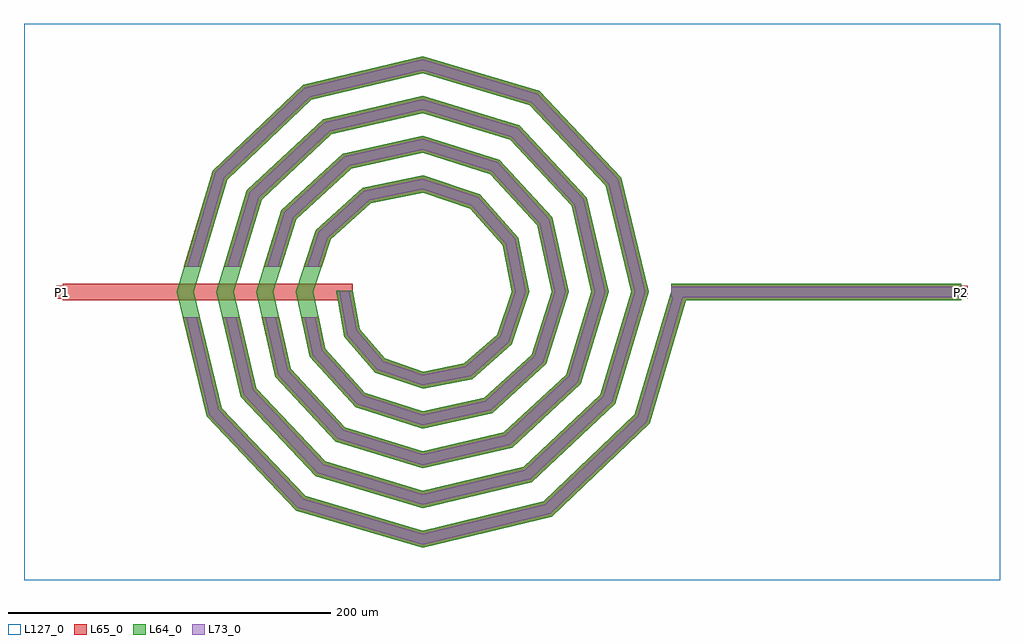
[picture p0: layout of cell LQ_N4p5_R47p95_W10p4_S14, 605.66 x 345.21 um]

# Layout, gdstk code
import gdstk
lib = gdstk.Library(unit=1e-6, precision=1e-09)
def R(c, l, rs):  # rectangles x0, y0, x1, y1
    for r in rs: c.add(gdstk.rectangle(r[:2], r[2:], *l))
def P(c, l, *ps):  # polygons
    for p in ps: c.add(gdstk.Polygon(p, *l))
L64_0 = (64, 0)
L65_0 = (65, 0)
L73_0 = (73, 0)
L127_0 = (127, 0)

lq_n4p5_r47p95_w10p4_s14 = lib.new_cell('LQ_N4p5_R47p95_W10p4_S14')
R(lq_n4p5_r47p95_w10p4_s14, L64_0, [(154.362,-5.2,334.362,5.2)])
P(lq_n4p5_r47p95_w10p4_s14, L64_0, [(-38.929,-22.947),(-23.282,-41.11),(0.377,-49.299),(25.992,-44.293),(46.43,-26.401),(55.467,0.339),(49.652,29.045),(29.514,51.756),(0.308,61.635),(-32.104,55.009),(-57.084,32.623),(-67.804,0.282),(-60.364,-35.168),(-35.727,-62.415),(0.26,-73.973),(38.234,-65.717),(67.748,-38.829),(80.142,0.241),(71.068,41.304),(41.928,73.082),(0.225,86.312),(-44.375,76.419),(-78.418,45.026),(-92.481,0.211),(-81.769,-47.448),(-48.122,-83.755),(0.199,-98.651),(50.522,-87.118),(89.092,-51.217),(104.821,0.187),(92.467,53.598),(54.311,94.43),(0.177,110.991),(-56.675,97.815),(-99.769,57.403),(-117.16,0.169),(-103.162,-59.752),(-60.496,-105.108),(0.16,-123.33),(62.83,-108.509),(110.447,-63.587),(129.5,0.153),(113.856,65.909),(66.678,115.787),(0.146,135.67),(-68.988,119.203),(-121.127,69.768),(-141.84,0.14),(-124.549,-72.068),(-72.858,-126.467),(0.135,-148.01),(75.148,-129.895),(131.808,-75.948),(154.573,1.467),(164.551,-1.467),(140.999,-81.557),(80.3,-139.35),(0.135,-158.774),(-78.477,-135.653),(-134.009,-77.21),(-152.604,0.14),(-130.306,75.397),(-74.12,128.668),(0.146,146.434),(72.317,124.96),(123.328,71.029),(140.263,0.153),(119.613,-69.238),(67.938,-117.988),(0.16,-134.093),(-66.159,-114.265),(-112.648,-64.846),(-127.923,0.169),(-108.917,63.081),(-61.754,107.309),(0.177,121.752),(60.004,103.569),(101.97,58.66),(115.582,0.187),(98.22,-56.928),(55.566,-96.632),(0.199,-109.412),(-53.853,-92.871),(-91.294,-52.47),(-103.241,0.211),(-87.52,50.779),(-49.373,85.957),(0.225,97.071),(47.706,82.169),(80.621,46.274),(90.9,0.241),(76.817,-44.636),(43.173,-75.286),(0.26,-84.729),(-41.567,-71.463),(-69.952,-40.07),(-78.558,0.282),(-66.107,38.502),(-36.963,64.62),(0.308,72.387),(35.44,60.748),(59.29,33.852),(66.215,0.339),(55.387,-32.383),(30.735,-53.962),(0.377,-60.043),(-29.332,-50.021),(-48.639,-27.611),(-53.613,0.954),(-43.389,0.954)])
R(lq_n4p5_r47p95_w10p4_s14, L65_0, [(-223.301,-5.2,-43.301,5.2), (154.362,-5.2,334.362,5.2), (-227.301,-4,-219.301,4), (330.362,-4,338.362,4)])
P(lq_n4p5_r47p95_w10p4_s14, L65_0, [(-124.549,-72.068),(-72.858,-126.468),(0.135,-148.01),(75.148,-129.895),(131.808,-75.948),(154.573,1.467),(164.551,-1.467),(140.999,-81.557),(80.3,-139.35),(0.135,-158.774),(-78.477,-135.653),(-134.009,-77.21),(-148.82,-15.6),(-138.124,-15.6)],
  [(-103.162,-59.752),(-60.496,-105.108),(0.161,-123.33),(62.83,-108.509),(110.447,-63.587),(129.5,0.153),(113.856,65.909),(66.678,115.787),(0.146,135.67),(-68.988,119.203),(-121.127,69.768),(-137.176,15.6),(-148.023,15.6),(-130.306,75.397),(-74.12,128.669),(0.146,146.434),(72.317,124.96),(123.328,71.029),(140.263,0.153),(119.613,-69.238),(67.938,-117.988),(0.161,-134.093),(-66.159,-114.265),(-112.648,-64.846),(-124.218,-15.6),(-113.535,-15.6)],
  [(-81.769,-47.448),(-48.122,-83.755),(0.199,-98.651),(50.522,-87.118),(89.092,-51.217),(104.821,0.187),(92.467,53.598),(54.311,94.43),(0.178,110.991),(-56.675,97.815),(-99.769,57.403),(-112.397,15.6),(-123.261,15.6),(-108.917,63.081),(-61.754,107.309),(0.178,121.752),(60.004,103.569),(101.97,58.66),(115.582,0.187),(98.22,-56.928),(55.566,-96.632),(0.199,-109.412),(-53.853,-92.871),(-91.294,-52.47),(-99.656,-15.6),(-88.992,-15.6)],
  [(-60.364,-35.168),(-35.727,-62.415),(0.26,-73.973),(38.234,-65.717),(67.748,-38.829),(80.142,0.241),(71.068,41.304),(41.928,73.082),(0.225,86.312),(-44.375,76.419),(-78.418,45.026),(-87.566,15.6),(-98.457,15.6),(-87.52,50.779),(-49.373,85.957),(0.225,97.071),(47.706,82.169),(80.621,46.274),(90.9,0.241),(76.817,-44.636),(43.173,-75.286),(0.26,-84.729),(-41.567,-71.463),(-69.952,-40.07),(-75.171,-15.6),(-64.537,-15.6)],
  [(-23.282,-41.11),(0.377,-49.299),(25.992,-44.293),(46.43,-26.401),(55.467,0.339),(49.652,29.046),(29.514,51.756),(0.308,61.635),(-32.104,55.009),(-57.084,32.623),(-62.63,15.6),(-73.568,15.6),(-66.107,38.502),(-36.963,64.62),(0.308,72.387),(35.44,60.748),(59.29,33.852),(66.215,0.339),(55.387,-32.383),(30.735,-53.962),(0.377,-60.043),(-29.332,-50.021),(-48.639,-27.611),(-53.613,0.954),(-43.389,0.954),(-38.929,-22.947)])
R(lq_n4p5_r47p95_w10p4_s14, L73_0, [(154.362,-3.2,334.362,3.2)])
P(lq_n4p5_r47p95_w10p4_s14, L73_0, [(-126.368,-73.057),(-73.939,-128.234),(0.083,-150.08),(76.139,-131.713),(133.576,-77.027),(156.492,0.903),(162.632,0.903),(139.232,-80.479),(79.31,-137.532),(0.083,-156.704),(-77.396,-133.886),(-132.19,-76.222),(-146.763,-15.6),(-140.181,-15.6)],
  [(-104.986,-60.732),(-61.585,-106.869),(0.099,-125.4),(63.813,-110.332),(112.21,-64.674),(131.57,0.094),(115.678,66.894),(67.762,117.551),(0.09,137.74),(-69.975,121.023),(-122.892,70.851),(-139.262,15.6),(-145.937,15.6),(-128.541,74.314),(-73.133,126.848),(0.09,144.364),(71.233,123.196),(121.507,70.045),(138.193,0.094),(117.85,-68.151),(66.956,-116.165),(0.099,-132.023),(-65.07,-112.504),(-110.824,-63.867),(-122.164,-15.6),(-115.589,-15.6)],
  [(-83.601,-48.414),(-49.224,-85.508),(0.122,-100.72),(51.492,-88.948),(90.847,-52.315),(106.89,0.115),(94.294,54.572),(55.406,96.188),(0.109,113.06),(-57.651,99.64),(-101.528,58.495),(-114.486,15.6),(-121.172,15.6),(-107.158,61.99),(-60.777,105.483),(0.109,119.683),(58.909,101.812),(100.143,57.687),(113.513,0.115),(96.465,-55.83),(54.596,-94.802),(0.122,-107.342),(-52.751,-91.118),(-89.462,-51.504),(-97.605,-15.6),(-91.042,-15.6)],
  [(-62.208,-36.111),(-36.85,-64.155),(0.16,-76.042),(39.184,-67.557),(69.492,-39.946),(82.211,0.149),(72.905,42.26),(43.039,74.83),(0.139,88.381),(-45.336,78.253),(-80.169,46.132),(-89.66,15.6),(-96.363,15.6),(-85.77,49.673),(-48.412,84.123),(0.139,95.002),(46.595,80.422),(78.784,45.318),(88.831,0.149),(75.073,-43.519),(42.224,-73.446),(0.16,-82.661),(-40.444,-69.723),(-68.108,-39.127),(-73.126,-15.6),(-66.582,-15.6)],
  [(-24.446,-42.823),(0.232,-51.365),(26.904,-46.152),(48.153,-27.552),(57.534,0.209),(51.506,29.97),(30.654,53.485),(0.19,63.703),(-33.039,56.857),(-58.819,33.753),(-64.733,15.6),(-71.464,15.6),(-64.372,37.371),(-36.029,62.772),(0.19,70.319),(34.3,59.019),(57.436,32.928),(64.148,0.209),(53.665,-31.233),(29.823,-52.103),(0.232,-57.977),(-28.169,-48.307),(-46.772,-26.714),(-51.647,0.587),(-45.355,0.587),(-40.797,-23.844)])
R(lq_n4p5_r47p95_w10p4_s14, L127_0, [(-247.301,-178.774,358.362,166.434)])
lq_n4p5_r47p95_w10p4_s14.add(gdstk.Label('P2', (334.362,0), layer=65, texttype=0))
lq_n4p5_r47p95_w10p4_s14.add(gdstk.Label('P1', (-223.301,0), layer=65, texttype=0))
lq_n4p5_r47p95_w10p4_s14.add(gdstk.Label('P2', (338.362,0), layer=145, texttype=0))
lq_n4p5_r47p95_w10p4_s14.add(gdstk.Label('P1', (-227.301,0), layer=145, texttype=0))

lib.write_gds('LQ_N4p5_R47p95_W10p4_S14.gds')
